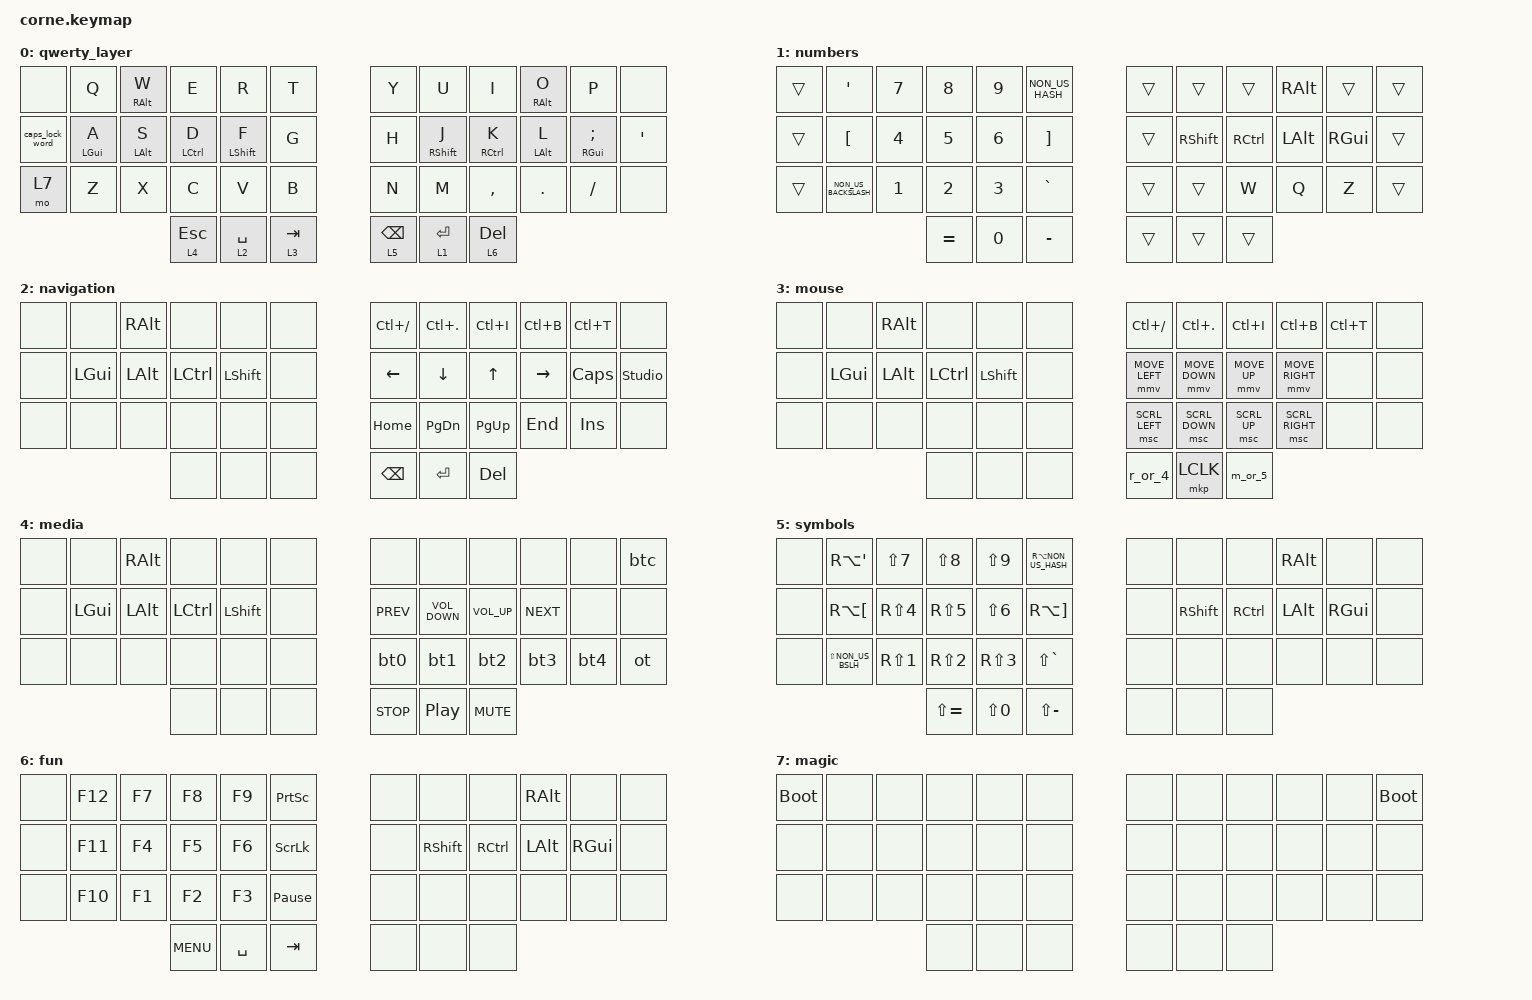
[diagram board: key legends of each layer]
/*
 * Copyright (c) 2020 The ZMK Contributors
 *
 * SPDX-License-Identifier: MIT
 */

#include <behaviors.dtsi>
#include <dt-bindings/zmk/bt.h>
#include <dt-bindings/zmk/keys.h>
#include <dt-bindings/zmk/outputs.h>
#include <dt-bindings/zmk/pointing.h>

/ {
    behaviors {
        hm: homerow_mods {
            compatible = "zmk,behavior-hold-tap";
            label = "HOMEROW_MODS";
            bindings = <&kp>, <&kp>;

            #binding-cells = <2>;
            tapping-term-ms = <200>;
            quick-tap-ms = <200>;
            require-prior-idle-ms = <150>;
            flavor = "tap-preferred";
        };

        ltq: layer_tap_quick {
            compatible = "zmk,behavior-hold-tap";
            label = "LAYER_TAP_QUICK";
            bindings = <&mo>, <&kp>;

            #binding-cells = <2>;
            tapping-term-ms = <150>;
            quick-tap-ms = <200>;
            require-prior-idle-ms = <0>;
            flavor = "hold-preferred";
        };

        bt0: bt0 {
            compatible = "zmk,behavior-tap-dance";
            label = "BT0";
            #binding-cells = <0>;
            bindings = <&bt BT_SEL 0>, <&bt BT_DISC 0>;
        };

        bt1: bt1 {
            compatible = "zmk,behavior-tap-dance";
            label = "BT1";
            #binding-cells = <0>;
            bindings = <&bt BT_SEL 1>, <&bt BT_DISC 1>;
        };

        bt2: bt2 {
            compatible = "zmk,behavior-tap-dance";
            label = "BT2";
            #binding-cells = <0>;
            bindings = <&bt BT_SEL 2>, <&bt BT_DISC 2>;
        };

        bt3: bt3 {
            compatible = "zmk,behavior-tap-dance";
            label = "BT3";
            #binding-cells = <0>;
            bindings = <&bt BT_SEL 3>, <&bt BT_DISC 3>;
        };

        bt4: bt4 {
            compatible = "zmk,behavior-tap-dance";
            label = "BT4";
            #binding-cells = <0>;
            bindings = <&bt BT_SEL 4>, <&bt BT_DISC 4>;
        };

        btc: btc {
            compatible = "zmk,behavior-tap-dance";
            label = "BTC";
            #binding-cells = <0>;
            bindings = <&bt BT_CLR>, <&bt BT_CLR_ALL>;
        };

        ot: ot {
            compatible = "zmk,behavior-tap-dance";
            label = "OT";
            #binding-cells = <0>;
            bindings = <&out OUT_USB>, <&out OUT_BLE>, <&out OUT_TOG>;
        };

        r_or_4: r_or_4 {
            compatible = "zmk,behavior-tap-dance";
            label = "R_OR_4";
            #binding-cells = <0>;
            bindings = <&mkp RCLK>, <&mkp MB4>;
        };

        m_or_5: m_or_5 {
            compatible = "zmk,behavior-tap-dance";
            label = "M_OR_5";
            #binding-cells = <0>;
            bindings = <&mkp MCLK>, <&mkp MB5>;
        };

        caps_lock_word: caps_lock_word {
            compatible = "zmk,behavior-mod-morph";
            label = "CAPS_LOCK_WORD";
            bindings = <&kp CAPS>, <&caps_word>;

            #binding-cells = <0>;
            mods = <(MOD_LSFT|MOD_RSFT)>;
        };
    };

    keymap {
        compatible = "zmk,keymap";

        qwerty_layer {
            bindings = <
&none            &kp Q       &hm RIGHT_ALT W  &kp E          &kp R         &kp T         &kp Y             &kp U         &kp I          &hm RIGHT_ALT O  &kp P          &none
&caps_lock_word  &hm LGUI A  &hm LALT S       &hm LCTRL D    &hm LSHFT F   &kp G         &kp H             &hm RSHFT J   &hm RCTRL K    &hm LEFT_ALT L   &hm RGUI SEMI  &kp SQT
&mo 7            &kp Z       &kp X            &kp C          &kp V         &kp B         &kp N             &kp M         &kp COMMA      &kp PERIOD       &kp SLASH      &none
                                              &ltq 4 ESCAPE  &ltq 2 SPACE  &ltq 3 TAB    &ltq 5 BACKSPACE  &ltq 1 ENTER  &ltq 6 DELETE
            >;
        };

        numbers {
            bindings = <
&trans  &kp SINGLE_QUOTE      &kp NUMBER_7  &kp NUMBER_8  &kp NUMBER_9  &kp NON_US_HASH      &trans  &trans      &trans     &kp RIGHT_ALT  &trans         &trans
&trans  &kp LEFT_BRACKET      &kp NUMBER_4  &kp NUMBER_5  &kp NUMBER_6  &kp RIGHT_BRACKET    &trans  &kp RSHIFT  &kp RCTRL  &kp LEFT_ALT   &kp RIGHT_GUI  &trans
&trans  &kp NON_US_BACKSLASH  &kp NUMBER_1  &kp NUMBER_2  &kp NUMBER_3  &kp GRAVE            &trans  &trans      &kp W      &kp Q          &kp Z          &trans
                                            &kp EQUAL     &kp NUMBER_0  &kp MINUS            &trans  &trans      &trans
            >;
        };

        navigation {
            bindings = <
&none  &none     &kp RIGHT_ALT  &none      &none      &none    &kp LC(SLASH)  &kp LC(PERIOD)  &kp LC(I)     &kp LC(B)  &kp LC(T)     &none
&none  &kp LGUI  &kp LALT       &kp LCTRL  &kp LSHFT  &none    &kp LEFT       &kp DOWN        &kp UP_ARROW  &kp RIGHT  &kp CAPSLOCK  &studio_unlock
&none  &none     &none          &none      &none      &none    &kp HOME       &kp PAGE_DOWN   &kp PAGE_UP   &kp END    &kp INSERT    &none
                                &none      &none      &none    &kp BACKSPACE  &kp ENTER       &kp DELETE
            >;
        };

        mouse {
            bindings = <
&none  &none     &kp RIGHT_ALT  &none      &none      &none    &kp LC(SLASH)   &kp LC(PERIOD)  &kp LC(I)     &kp LC(B)        &kp LC(T)  &none
&none  &kp LGUI  &kp LALT       &kp LCTRL  &kp LSHFT  &none    &mmv MOVE_LEFT  &mmv MOVE_DOWN  &mmv MOVE_UP  &mmv MOVE_RIGHT  &none      &none
&none  &none     &none          &none      &none      &none    &msc SCRL_LEFT  &msc SCRL_DOWN  &msc SCRL_UP  &msc SCRL_RIGHT  &none      &none
                                &none      &none      &none    &r_or_4         &mkp LCLK       &m_or_5
            >;
        };

        media {
            bindings = <
&none  &none     &kp RIGHT_ALT  &none      &none      &none    &none       &none              &none            &none       &none  &btc
&none  &kp LGUI  &kp LALT       &kp LCTRL  &kp LSHFT  &none    &kp K_PREV  &kp K_VOLUME_DOWN  &kp K_VOLUME_UP  &kp K_NEXT  &none  &none
&none  &none     &none          &none      &none      &none    &bt0        &bt1               &bt2             &bt3        &bt4   &ot
                                &none      &none      &none    &kp K_STOP  &kp C_PLAY_PAUSE   &kp C_MUTE
            >;
        };

        symbols {
            bindings = <
&none  &kp RA(APOS)         &kp LS(N7)  &kp LS(N8)     &kp LS(N9)        &kp RA(NON_US_HASH)    &none  &none      &none      &kp RIGHT_ALT  &none     &none
&none  &kp RA(LBKT)         &kp RS(N4)  &kp RS(N5)     &kp LS(N6)        &kp RA(RBKT)           &none  &kp RSHFT  &kp RCTRL  &kp LEFT_ALT   &kp RGUI  &none
&none  &kp LS(NON_US_BSLH)  &kp RS(N1)  &kp RS(N2)     &kp RS(N3)        &kp LS(GRAVE)          &none  &none      &none      &none          &none     &none
                                        &kp LS(EQUAL)  &kp LS(NUMBER_0)  &kp LS(MINUS)          &none  &none      &none
            >;
        };

        fun {
            bindings = <
&none  &kp F12  &kp F7  &kp F8      &kp F9     &kp PRINTSCREEN    &none  &none       &none      &kp RIGHT_ALT  &none     &none
&none  &kp F11  &kp F4  &kp F5      &kp F6     &kp SCROLLLOCK     &none  &kp RSHIFT  &kp RCTRL  &kp LEFT_ALT   &kp RGUI  &none
&none  &kp F10  &kp F1  &kp F2      &kp F3     &kp PAUSE_BREAK    &none  &none       &none      &none          &none     &none
                        &kp K_MENU  &kp SPACE  &kp TAB            &none  &none       &none
            >;
        };

        magic {
            bindings = <
&bootloader  &none  &none  &none  &none  &none    &none  &none  &none  &none  &none  &bootloader
&none        &none  &none  &none  &none  &none    &none  &none  &none  &none  &none  &none
&none        &none  &none  &none  &none  &none    &none  &none  &none  &none  &none  &none
                           &none  &none  &none    &none  &none  &none
            >;
        };
    };
};
